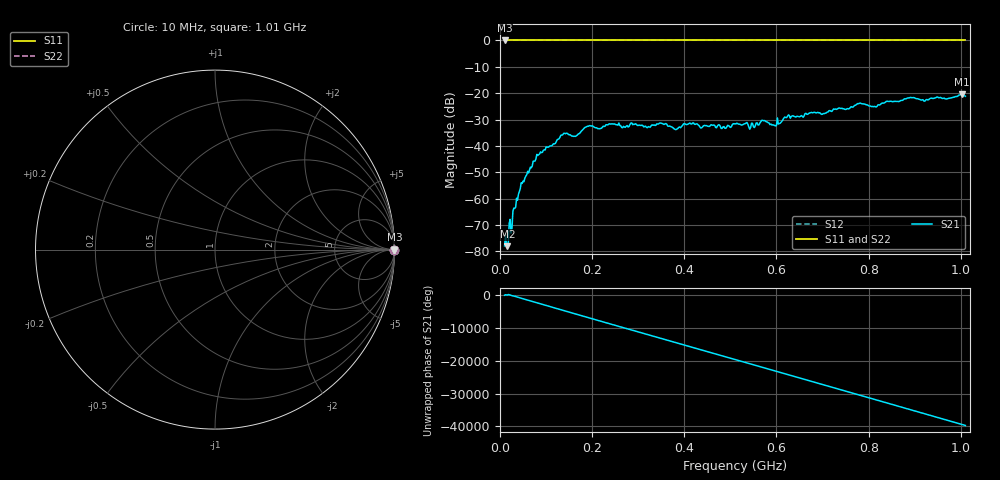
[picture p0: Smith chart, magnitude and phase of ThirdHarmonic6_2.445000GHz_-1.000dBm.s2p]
! 8/17/2025 4:19:53 AM
! C:\ANRITSUVNA\TEMP\TEMP.S2P
! CHANNEL.1
! TR.MEASUREMENT
! RAW.DATA
! RF.CORRECTION.OFF
! AVERAGING.OFF
! IF.BANDWIDTH: 5KHZ
! SWEEPTYPE:  FREQ.SWEEP(Linear)
! Reference Plane Port Info
! PORT:  PORT1  PORT2
! DISTANCE:  0  m  0  m
! TIME:  0  s  0  s
! PHASE.OFFSET:  0  deg.  0  deg.
! LOSS:  0  dB  0  dB
! REF.LOSS:  0  dB  0  dB
! REF.FREQ:  0  Hz  0  Hz
! Power Info
! POWER:  -20  dBm  -20  dBm
! EFF.POWER:  -20  dBm  -20  dBm
! SOURCE.ATTEN:  0  dB  0  dB
! TEST.ATTEN:  0  dB  0  dB
# GHZ S RI R 50.0
! FREQ.GHZ  S11RE  S11IM  S21RE  S21IM  S12RE  S12IM  S22RE  S22IM
!; PortSelection: Port_12
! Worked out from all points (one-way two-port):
!   501 points, 10 MHz to 1.01 GHz, reference 50 ohm
!   highest |S21| = -20.39 dB at 1.002 GHz (marker M1); lowest = -78.0 dB at 16 MHz (marker M2)
!   lowest |S11| = 0.0 dB at 10 MHz (marker M3)
!   |S11| at or under -10 dB: nowhere
!   |S22| runs from 0.0 to 0.0 dB; largest |S21 - S12| = 1.1
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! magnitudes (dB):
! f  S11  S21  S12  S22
! 10 MHz  0.0  -77.9  0.0  0.0
! 16 MHz  0.0  -78.0  0.0  0.0
! 46 MHz  0.0  -53.9  0.0  0.0
! 76 MHz  0.0  -45.7  0.0  0.0
! 136 MHz  0.0  -35.8  0.0  0.0
! 162 MHz  0.0  -36.3  0.0  0.0
! 178 MHz  0.0  -34.1  0.0  0.0
! 240 MHz  0.0  -31.7  0.0  0.0
! 322 MHz  0.0  -32.7  0.0  0.0
! 344 MHz  0.0  -31.7  0.0  0.0
! 382 MHz  0.0  -33.8  0.0  0.0
! 416 MHz  0.0  -31.7  0.0  0.0
! 484 MHz  0.0  -32.7  0.0  0.0
! 510 MHz  0.0  -31.6  0.0  0.0
! 542 MHz  0.0  -33.6  0.0  0.0
! 572 MHz  0.0  -30.4  0.0  0.0
! 596 MHz  0.0  -32.3  0.0  0.0
! 622 MHz  0.0  -29.2  0.0  0.0
! 678 MHz  0.0  -27.4  0.0  0.0
! 844 MHz  0.0  -23.1  0.0  0.0
! 1.002 GHz  0.0  -20.4  0.0  0.0
! 1.01 GHz  0.0  -21.2  0.0  0.0
